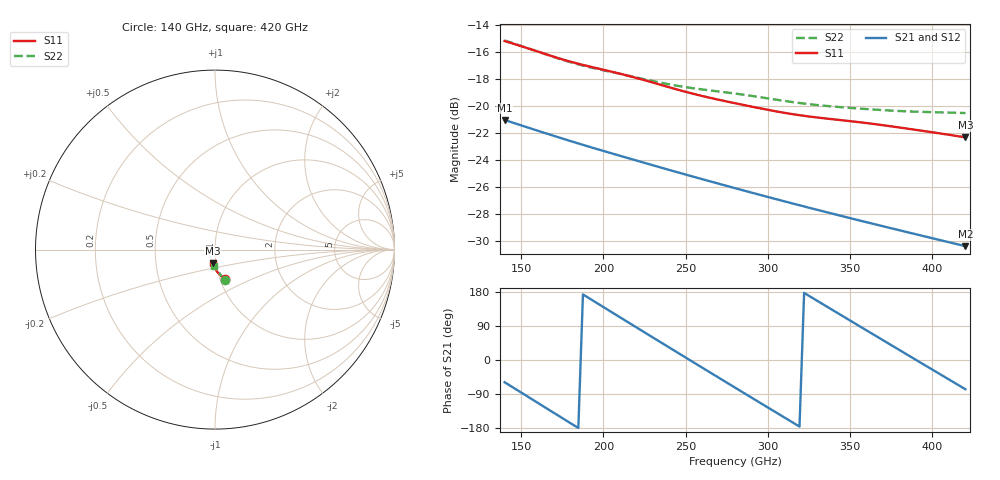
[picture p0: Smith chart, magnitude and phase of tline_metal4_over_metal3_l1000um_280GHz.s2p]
#  GHZ S DB R 50
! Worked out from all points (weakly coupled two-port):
!   101 points, 140 GHz to 420 GHz, reference 50 ohm
!   highest |S21| = -21.02 dB at 140 GHz (marker M1); lowest = -30.4 dB at 420 GHz (marker M2)
!   lowest |S11| = -22.3 dB at 420 GHz (marker M3), VSWR 1.17, Z = 48.2 - j7.32 ohm
!   |S11| at or under -10 dB: start of sweep to end of sweep
!   |S22| runs from -20.5 to -15.1 dB; largest |S21 - S12| = 8.3e-14
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140  -15.17 -71.7  -21.02 -58.6  -21.02 -58.6  -15.12 -72.0
148.4  -15.48 -73.1  -21.36 -81.4  -21.36 -81.4  -15.46 -73.4
159.6  -15.92 -75.0  -21.80 -111.6  -21.80 -111.6  -15.93 -75.1
173.6  -16.47 -77.0  -22.34 -149.3  -22.34 -149.3  -16.50 -76.7
187.6  -16.94 -78.7  -22.87 173.1  -22.87 173.1  -16.99 -77.9
201.6  -17.34 -80.6  -23.38 135.6  -23.38 135.6  -17.38 -79.1
212.8  -17.67 -82.4  -23.78 105.6  -23.78 105.6  -17.68 -80.2
224  -18.04 -84.2  -24.17 75.7  -24.17 75.7  -17.97 -81.3
235.2  -18.43 -85.7  -24.56 45.8  -24.56 45.8  -18.26 -82.2
246.4  -18.82 -86.9  -24.95 16.1  -24.95 16.1  -18.52 -82.9
254.8  -19.09 -87.6  -25.24 -6.2  -25.24 -6.2  -18.67 -83.4
268.8  -19.49 -88.6  -25.71 -43.2  -25.71 -43.2  -18.89 -84.6
280  -19.78 -89.4  -26.08 -72.8  -26.08 -72.8  -19.06 -85.7
291.2  -20.06 -90.1  -26.45 -102.3  -26.45 -102.3  -19.26 -86.8
305.2  -20.39 -90.9  -26.91 -139.0  -26.91 -139.0  -19.52 -88.0
316.4  -20.62 -91.4  -27.26 -168.4  -27.26 -168.4  -19.72 -88.7
327.6  -20.81 -91.9  -27.62 162.4  -27.62 162.4  -19.89 -89.3
350  -21.11 -93.5  -28.31 104.0  -28.31 104.0  -20.13 -90.4
361.2  -21.27 -94.6  -28.65 74.9  -28.65 74.9  -20.23 -91.1
375.2  -21.50 -95.9  -29.07 38.6  -29.07 38.6  -20.33 -91.9
394.8  -21.84 -97.7  -29.65 -12.1  -29.65 -12.1  -20.43 -93.1
420  -22.32 -99.7  -30.39 -77.2  -30.39 -77.2  -20.51 -95.0
